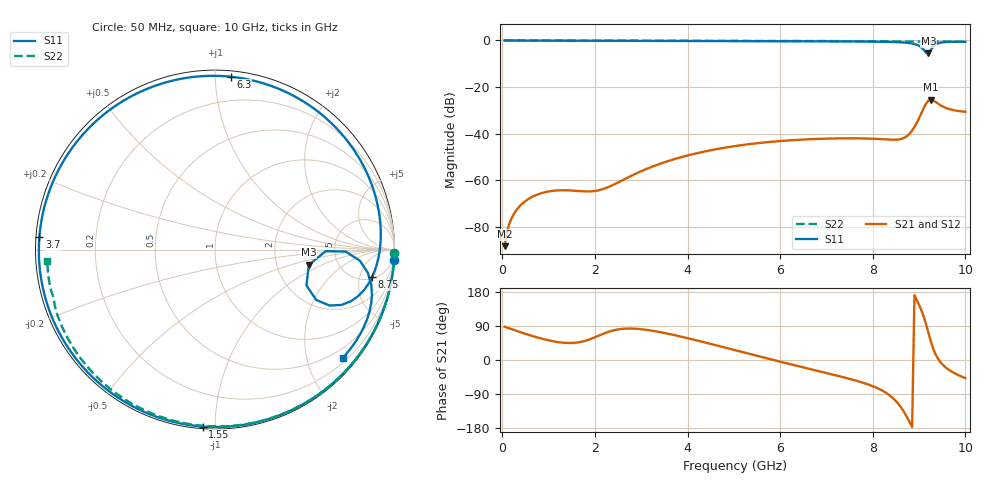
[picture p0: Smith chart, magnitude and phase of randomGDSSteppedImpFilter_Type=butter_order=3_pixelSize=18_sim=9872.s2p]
! freq	dB(S11)	phase(S11)	dB(S12)	phase(S12)
!  dB(S21)	phase(S21)	dB(S22)	phase(S22)
!S-par simulation data
#  GHz  S  DB  R 50
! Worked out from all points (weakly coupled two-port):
!   200 points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, 50 MHz to 10 GHz, reference 50 ohm
!   highest |S21| = -25.39 dB at 9.25 GHz (marker M1); lowest = -88.3 dB at 50 MHz (marker M2)
!   lowest |S11| = -5.5 dB at 9.2 GHz (marker M3), VSWR 3.25, Z = 153 - j36.2 ohm
!   |S11| at or under -10 dB: nowhere
!   |S22| runs from -0.6 to 0.0 dB; largest |S21 - S12| = 0
!   S11 on the Smith chart (normalised r, x): 50 MHz: 0, -34; 1.55 GHz: 0.01, -0.93; 3.7 GHz: 0.01, +0.04; 6.3 GHz: 0.04, +1.10; 8.75 GHz: 5.39, -7.84; 10 GHz: 0.29, -2.71
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0.05  -0.00 -3.4  -88.27 87.9  -88.27 87.9  -0.00 -1.0
0.15  -0.01 -10.0  -78.78 83.6  -78.78 83.6  -0.00 -3.1
0.35  -0.03 -23.1  -71.68 75.2  -71.68 75.2  -0.01 -7.2
0.65  -0.06 -42.3  -67.07 63.3  -67.07 63.3  -0.02 -13.4
1.1  -0.08 -69.4  -64.51 49.4  -64.51 49.4  -0.03 -22.5
1.55  -0.10 -93.9  -64.46 45.3  -64.46 45.3  -0.04 -31.5
1.75  -0.11 -104.1  -64.74 49.2  -64.74 49.2  -0.05 -35.5
2.55  -0.13 -140.2  -60.41 81.6  -60.41 81.6  -0.07 -51.1
3.4  -0.16 -173.3  -52.96 73.7  -52.96 73.7  -0.09 -67.0
3.7  -0.17 175.9  -51.02 66.1  -51.02 66.1  -0.10 -72.5
4.35  -0.19 153.0  -47.73 47.1  -47.73 47.1  -0.12 -84.1
5.05  -0.22 128.8  -45.25 25.2  -45.25 25.2  -0.15 -96.2
6.3  -0.29 84.7  -42.74 -13.5  -42.74 -13.5  -0.21 -116.9
6.7  -0.32 70.2  -42.33 -25.4  -42.33 -25.4  -0.24 -123.3
7.6  -0.42 36.7  -41.99 -53.1  -41.99 -53.1  -0.31 -137.7
8.35  -0.62 7.6  -42.53 -92.0  -42.53 -92.0  -0.38 -149.6
8.75  -1.03 -9.9  -40.88 -153.2  -40.88 -153.2  -0.43 -156.0
9.05  -2.97 -26.0  -31.19 131.1  -31.19 131.1  -0.49 -160.9
9.2  -5.52 -9.2  -25.82 72.6  -25.82 72.6  -0.55 -163.1
9.25  -4.20 -0.8  -25.39 50.5  -25.39 50.5  -0.55 -163.8
9.45  -0.99 -12.6  -27.66 -3.8  -27.66 -3.8  -0.53 -166.9
10  -0.60 -40.1  -30.60 -47.8  -30.60 -47.8  -0.57 -176.2
